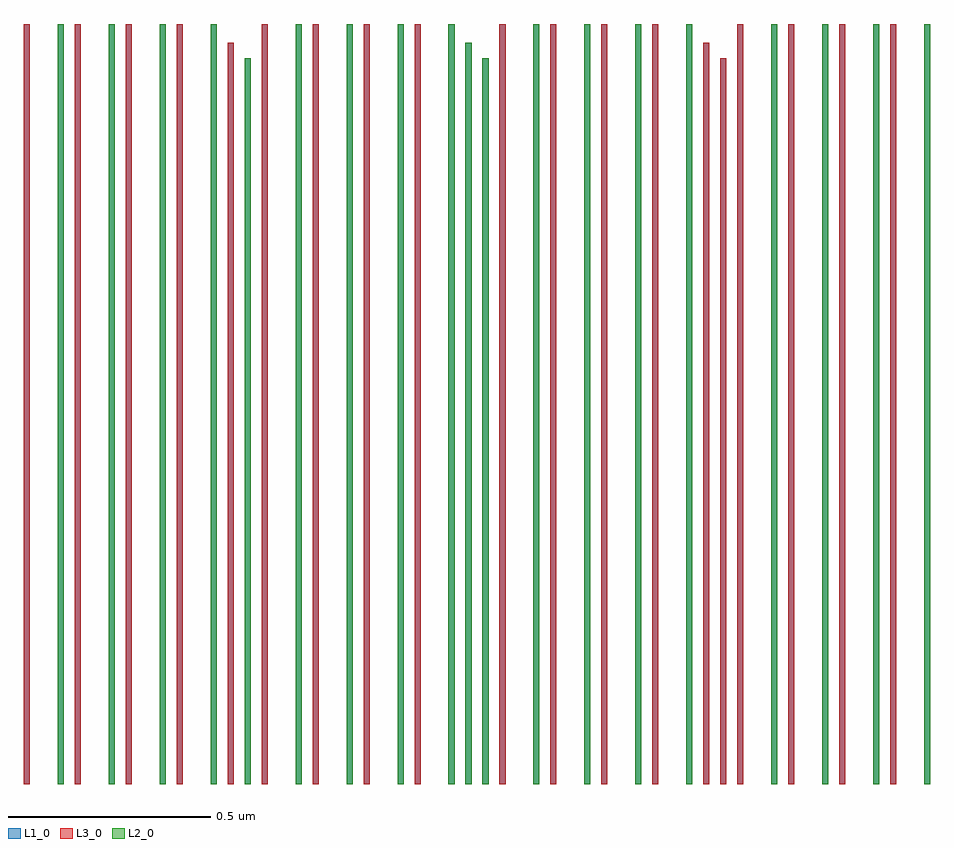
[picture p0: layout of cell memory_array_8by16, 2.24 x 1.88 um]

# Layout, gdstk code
import gdstk
lib = gdstk.Library(unit=1e-6, precision=5e-10)
def R(c, l, rs):  # rectangles x0, y0, x1, y1
    for r in rs: c.add(gdstk.rectangle(r[:2], r[2:], *l))
def A(c, l, x, y, w, h, nx, ny, dx, dy):  # array of equal rectangles
    R(c, l, [(x+i*dx, y+j*dy, x+i*dx+w, y+j*dy+h) for i in range(nx) for j in range(ny)])
L1_0 = (1, 0)
L2_0 = (2, 0)
L3_0 = (3, 0)

sram_6t = lib.new_cell('sram_6t')
R(sram_6t, L1_0, [(0.021,0,0.036,0.2625), (0.105,0,0.12,0.2625)])

memory_array_8by16 = lib.new_cell('memory_array_8by16')
A(memory_array_8by16, L1_0, 0.553, 0.0045, 0.015, 1.8335, 3, 1, 0.588, 0)
A(memory_array_8by16, L1_0, 0.595, 0.0045, 0.015, 1.795, 3, 1, 0.588, 0)
R(memory_array_8by16, L1_0, [(0.513,0.006,0.5235,0.018), (1.228,0.006,1.2385,0.0185), (1.3105,0.006,1.321,0.018), (0.135,0.0065,0.1465,0.018), (1.8995,0.0065,1.9095,0.0185), (0.0505,0.007,0.062,0.0205), (0.2615,0.007,0.271,0.018), (0.3875,0.007,0.397,0.018), (0.4295,0.007,0.441,0.0185), (0.7235,0.007,0.734,0.0185), (0.7655,0.007,0.7755,0.0185), (0.892,0.007,0.901,0.0175), (0.976,0.007,0.9845,0.0175), (1.354,0.007,1.363,0.0185), (1.4375,0.007,1.447,0.017), (1.4795,0.007,1.488,0.0165), (1.6885,0.007,1.7,0.0165), (1.8155,0.007,1.8255,0.0195), (2.2775,0.007,2.2865,0.018), (0.177,0.0075,0.187,0.0185), (0.303,0.0075,0.3135,0.019), (2.025,0.0075,2.0335,0.0195), (2.194,0.0075,2.203,0.021), (0.64,0.008,0.649,0.019), (1.564,0.008,1.575,0.016), (1.605,0.008,1.6155,0.019), (1.942,0.008,1.95,0.017), (2.1535,0.008,2.1615,0.018), (0.8495,0.009,0.859,0.0195), (1.102,0.009,1.1115,0.017), (2.068,0.009,2.076,0.0185), (1.0185,0.0095,1.026,0.018)])
A(memory_array_8by16, L2_0, 0.133, 0.0045, 0.015, 1.8795, 4, 1, 0.126, 0)
A(memory_array_8by16, L2_0, 0.721, 0.0045, 0.015, 1.8795, 4, 1, 0.126, 0)
A(memory_array_8by16, L2_0, 1.309, 0.0045, 0.015, 1.8795, 4, 1, 0.126, 0)
A(memory_array_8by16, L2_0, 1.897, 0.0045, 0.015, 1.8795, 4, 1, 0.126, 0)
R(memory_array_8by16, L2_0, [(0.595,0.0045,0.61,1.7995), (1.141,0.0045,1.156,1.838), (1.183,0.0045,1.198,1.7995)])
A(memory_array_8by16, L3_0, 0.049, 0.0045, 0.015, 1.8795, 4, 1, 0.126, 0)
A(memory_array_8by16, L3_0, 0.637, 0.0045, 0.015, 1.8795, 4, 1, 0.126, 0)
A(memory_array_8by16, L3_0, 1.225, 0.0045, 0.015, 1.8795, 4, 1, 0.126, 0)
A(memory_array_8by16, L3_0, 1.813, 0.0045, 0.015, 1.8795, 4, 1, 0.126, 0)
R(memory_array_8by16, L3_0, [(0.553,0.0045,0.568,1.838), (1.729,0.0045,1.744,1.838), (1.771,0.0045,1.786,1.7995)])
memory_array_8by16.add(gdstk.Reference(sram_6t, (0.868,0.2355)))
memory_array_8by16.add(gdstk.Reference(sram_6t, (0.994,0.2355)))
memory_array_8by16.add(gdstk.Reference(sram_6t, (0.742,0.2355)))
memory_array_8by16.add(gdstk.Reference(sram_6t, (0.616,0.2355)))
memory_array_8by16.add(gdstk.Reference(sram_6t, (1.792,0.2355)))
memory_array_8by16.add(gdstk.Reference(sram_6t, (1.918,0.2355)))
memory_array_8by16.add(gdstk.Reference(sram_6t, (2.17,0.2355)))
memory_array_8by16.add(gdstk.Reference(sram_6t, (2.044,0.2355)))
memory_array_8by16.add(gdstk.Reference(sram_6t, (0.406,0.6975)))
memory_array_8by16.add(gdstk.Reference(sram_6t, (0.28,0.6975)))
memory_array_8by16.add(gdstk.Reference(sram_6t, (1.456,0.2355)))
memory_array_8by16.add(gdstk.Reference(sram_6t, (1.582,0.2355)))
memory_array_8by16.add(gdstk.Reference(sram_6t, (1.33,0.2355)))
memory_array_8by16.add(gdstk.Reference(sram_6t, (1.204,0.2355)))
memory_array_8by16.add(gdstk.Reference(sram_6t, (1.204,0.0045)))
memory_array_8by16.add(gdstk.Reference(sram_6t, (1.33,0.0045)))
memory_array_8by16.add(gdstk.Reference(sram_6t, (1.582,0.0045)))
memory_array_8by16.add(gdstk.Reference(sram_6t, (1.456,0.0045)))
memory_array_8by16.add(gdstk.Reference(sram_6t, (0.154,0.6975)))
memory_array_8by16.add(gdstk.Reference(sram_6t, (0.028,0.6975)))
memory_array_8by16.add(gdstk.Reference(sram_6t, (2.044,0.0045)))
memory_array_8by16.add(gdstk.Reference(sram_6t, (2.17,0.0045)))
memory_array_8by16.add(gdstk.Reference(sram_6t, (1.918,0.0045)))
memory_array_8by16.add(gdstk.Reference(sram_6t, (1.792,0.0045)))
memory_array_8by16.add(gdstk.Reference(sram_6t, (0.616,0.0045)))
memory_array_8by16.add(gdstk.Reference(sram_6t, (0.742,0.0045)))
memory_array_8by16.add(gdstk.Reference(sram_6t, (0.994,0.0045)))
memory_array_8by16.add(gdstk.Reference(sram_6t, (0.868,0.0045)))
memory_array_8by16.add(gdstk.Reference(sram_6t, (0.28,0.0045)))
memory_array_8by16.add(gdstk.Reference(sram_6t, (0.406,0.0045)))
memory_array_8by16.add(gdstk.Reference(sram_6t, (0.154,0.0045)))
memory_array_8by16.add(gdstk.Reference(sram_6t, (0.028,0.0045)))
memory_array_8by16.add(gdstk.Reference(sram_6t, (0.028,0.4665)))
memory_array_8by16.add(gdstk.Reference(sram_6t, (0.154,0.4665)))
memory_array_8by16.add(gdstk.Reference(sram_6t, (0.406,0.4665)))
memory_array_8by16.add(gdstk.Reference(sram_6t, (0.28,0.4665)))
memory_array_8by16.add(gdstk.Reference(sram_6t, (0.868,0.4665)))
memory_array_8by16.add(gdstk.Reference(sram_6t, (0.994,0.4665)))
memory_array_8by16.add(gdstk.Reference(sram_6t, (0.742,0.4665)))
memory_array_8by16.add(gdstk.Reference(sram_6t, (0.616,0.4665)))
memory_array_8by16.add(gdstk.Reference(sram_6t, (1.792,0.4665)))
memory_array_8by16.add(gdstk.Reference(sram_6t, (1.918,0.4665)))
memory_array_8by16.add(gdstk.Reference(sram_6t, (2.17,0.4665)))
memory_array_8by16.add(gdstk.Reference(sram_6t, (2.044,0.4665)))
memory_array_8by16.add(gdstk.Reference(sram_6t, (1.456,0.4665)))
memory_array_8by16.add(gdstk.Reference(sram_6t, (1.582,0.4665)))
memory_array_8by16.add(gdstk.Reference(sram_6t, (1.33,0.4665)))
memory_array_8by16.add(gdstk.Reference(sram_6t, (1.204,0.4665)))
memory_array_8by16.add(gdstk.Reference(sram_6t, (1.204,0.6975)))
memory_array_8by16.add(gdstk.Reference(sram_6t, (1.33,0.6975)))
memory_array_8by16.add(gdstk.Reference(sram_6t, (1.582,0.6975)))
memory_array_8by16.add(gdstk.Reference(sram_6t, (1.456,0.6975)))
memory_array_8by16.add(gdstk.Reference(sram_6t, (2.044,0.6975)))
memory_array_8by16.add(gdstk.Reference(sram_6t, (2.17,0.6975)))
memory_array_8by16.add(gdstk.Reference(sram_6t, (1.918,0.6975)))
memory_array_8by16.add(gdstk.Reference(sram_6t, (1.792,0.6975)))
memory_array_8by16.add(gdstk.Reference(sram_6t, (0.616,0.6975)))
memory_array_8by16.add(gdstk.Reference(sram_6t, (0.742,0.6975)))
memory_array_8by16.add(gdstk.Reference(sram_6t, (0.994,0.6975)))
memory_array_8by16.add(gdstk.Reference(sram_6t, (0.868,0.6975)))
memory_array_8by16.add(gdstk.Reference(sram_6t, (0.028,0.2355)))
memory_array_8by16.add(gdstk.Reference(sram_6t, (0.154,0.2355)))
memory_array_8by16.add(gdstk.Reference(sram_6t, (0.406,0.2355)))
memory_array_8by16.add(gdstk.Reference(sram_6t, (0.28,0.2355)))
memory_array_8by16.add(gdstk.Reference(sram_6t, (0.28,1.1595)))
memory_array_8by16.add(gdstk.Reference(sram_6t, (0.406,1.1595)))
memory_array_8by16.add(gdstk.Reference(sram_6t, (0.154,1.1595)))
memory_array_8by16.add(gdstk.Reference(sram_6t, (0.028,1.1595)))
memory_array_8by16.add(gdstk.Reference(sram_6t, (0.868,1.6215)))
memory_array_8by16.add(gdstk.Reference(sram_6t, (0.994,1.6215)))
memory_array_8by16.add(gdstk.Reference(sram_6t, (0.742,1.6215)))
memory_array_8by16.add(gdstk.Reference(sram_6t, (0.616,1.6215)))
memory_array_8by16.add(gdstk.Reference(sram_6t, (1.792,1.6215)))
memory_array_8by16.add(gdstk.Reference(sram_6t, (1.918,1.6215)))
memory_array_8by16.add(gdstk.Reference(sram_6t, (2.17,1.6215)))
memory_array_8by16.add(gdstk.Reference(sram_6t, (2.044,1.6215)))
memory_array_8by16.add(gdstk.Reference(sram_6t, (1.456,1.6215)))
memory_array_8by16.add(gdstk.Reference(sram_6t, (1.582,1.6215)))
memory_array_8by16.add(gdstk.Reference(sram_6t, (1.33,1.6215)))
memory_array_8by16.add(gdstk.Reference(sram_6t, (1.204,1.6215)))
memory_array_8by16.add(gdstk.Reference(sram_6t, (1.204,1.3905)))
memory_array_8by16.add(gdstk.Reference(sram_6t, (1.33,1.3905)))
memory_array_8by16.add(gdstk.Reference(sram_6t, (1.582,1.3905)))
memory_array_8by16.add(gdstk.Reference(sram_6t, (1.456,1.3905)))
memory_array_8by16.add(gdstk.Reference(sram_6t, (2.044,1.3905)))
memory_array_8by16.add(gdstk.Reference(sram_6t, (2.17,1.3905)))
memory_array_8by16.add(gdstk.Reference(sram_6t, (1.918,1.3905)))
memory_array_8by16.add(gdstk.Reference(sram_6t, (1.792,1.3905)))
memory_array_8by16.add(gdstk.Reference(sram_6t, (0.616,1.3905)))
memory_array_8by16.add(gdstk.Reference(sram_6t, (0.742,1.3905)))
memory_array_8by16.add(gdstk.Reference(sram_6t, (0.994,1.3905)))
memory_array_8by16.add(gdstk.Reference(sram_6t, (0.868,1.3905)))
memory_array_8by16.add(gdstk.Reference(sram_6t, (0.28,1.3905)))
memory_array_8by16.add(gdstk.Reference(sram_6t, (0.406,1.3905)))
memory_array_8by16.add(gdstk.Reference(sram_6t, (0.154,1.3905)))
memory_array_8by16.add(gdstk.Reference(sram_6t, (0.028,1.3905)))
memory_array_8by16.add(gdstk.Reference(sram_6t, (0.028,0.9285)))
memory_array_8by16.add(gdstk.Reference(sram_6t, (0.154,0.9285)))
memory_array_8by16.add(gdstk.Reference(sram_6t, (0.406,0.9285)))
memory_array_8by16.add(gdstk.Reference(sram_6t, (0.28,0.9285)))
memory_array_8by16.add(gdstk.Reference(sram_6t, (0.868,0.9285)))
memory_array_8by16.add(gdstk.Reference(sram_6t, (0.994,0.9285)))
memory_array_8by16.add(gdstk.Reference(sram_6t, (0.742,0.9285)))
memory_array_8by16.add(gdstk.Reference(sram_6t, (0.616,0.9285)))
memory_array_8by16.add(gdstk.Reference(sram_6t, (1.792,0.9285)))
memory_array_8by16.add(gdstk.Reference(sram_6t, (1.918,0.9285)))
memory_array_8by16.add(gdstk.Reference(sram_6t, (2.17,0.9285)))
memory_array_8by16.add(gdstk.Reference(sram_6t, (2.044,0.9285)))
memory_array_8by16.add(gdstk.Reference(sram_6t, (0.028,1.6215)))
memory_array_8by16.add(gdstk.Reference(sram_6t, (0.154,1.6215)))
memory_array_8by16.add(gdstk.Reference(sram_6t, (1.456,0.9285)))
memory_array_8by16.add(gdstk.Reference(sram_6t, (1.582,0.9285)))
memory_array_8by16.add(gdstk.Reference(sram_6t, (1.33,0.9285)))
memory_array_8by16.add(gdstk.Reference(sram_6t, (1.204,0.9285)))
memory_array_8by16.add(gdstk.Reference(sram_6t, (1.204,1.1595)))
memory_array_8by16.add(gdstk.Reference(sram_6t, (1.33,1.1595)))
memory_array_8by16.add(gdstk.Reference(sram_6t, (1.582,1.1595)))
memory_array_8by16.add(gdstk.Reference(sram_6t, (1.456,1.1595)))
memory_array_8by16.add(gdstk.Reference(sram_6t, (0.28,1.6215)))
memory_array_8by16.add(gdstk.Reference(sram_6t, (0.406,1.6215)))
memory_array_8by16.add(gdstk.Reference(sram_6t, (2.044,1.1595)))
memory_array_8by16.add(gdstk.Reference(sram_6t, (2.17,1.1595)))
memory_array_8by16.add(gdstk.Reference(sram_6t, (1.918,1.1595)))
memory_array_8by16.add(gdstk.Reference(sram_6t, (1.792,1.1595)))
memory_array_8by16.add(gdstk.Reference(sram_6t, (0.616,1.1595)))
memory_array_8by16.add(gdstk.Reference(sram_6t, (0.742,1.1595)))
memory_array_8by16.add(gdstk.Reference(sram_6t, (0.994,1.1595)))
memory_array_8by16.add(gdstk.Reference(sram_6t, (0.868,1.1595)))

lib.write_gds('memory_array_8by16.gds')
